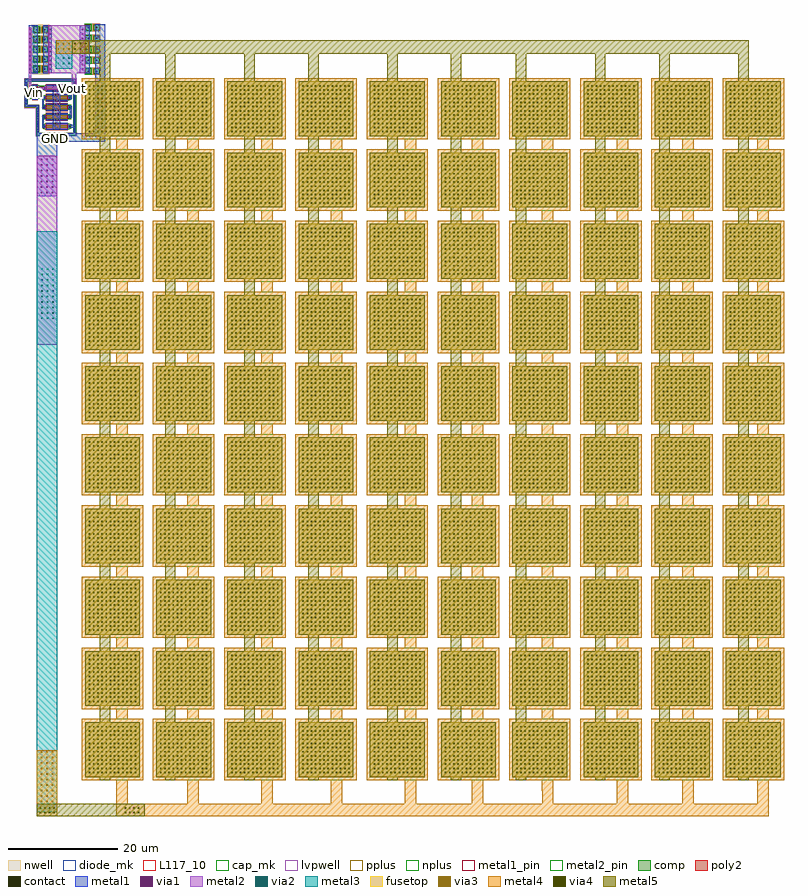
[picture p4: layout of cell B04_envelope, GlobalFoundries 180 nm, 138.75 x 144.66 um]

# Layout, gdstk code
from math import pi, radians
import gdstk
lib = gdstk.Library(unit=1e-6, precision=1e-09)
def R(c, l, rs):  # rectangles x0, y0, x1, y1
    for r in rs: c.add(gdstk.rectangle(r[:2], r[2:], *l))
def A(c, l, x, y, w, h, nx, ny, dx, dy):  # array of equal rectangles
    R(c, l, [(x+i*dx, y+j*dy, x+i*dx+w, y+j*dy+h) for i in range(nx) for j in range(ny)])
def P(c, l, *ps):  # polygons
    for p in ps: c.add(gdstk.Polygon(p, *l))
nwell = (21, 0)
comp = (22, 0)
poly2 = (30, 0)
pplus = (31, 0)
nplus = (32, 0)
contact = (33, 0)
metal1 = (34, 0)
metal1_pin = (34, 10)
via1 = (35, 0)
metal2 = (36, 0)
metal2_pin = (36, 10)
via2 = (38, 0)
via3 = (40, 0)
via4 = (41, 0)
metal3 = (42, 0)
metal4 = (46, 0)
fusetop = (75, 0)
metal5 = (81, 0)
diode_mk = (115, 5)
cap_mk = (117, 5)
L117_10 = (117, 10)
lvpwell = (204, 0)

cap_mim_1 = lib.new_cell('cap_mim$1')
A(cap_mim_1, via4, 0.69, 0.69, 0.26, 0.26, 12, 12, 0.76, 0.76)
R(cap_mim_1, metal4, [(-0.6,-0.6,10.6,10.6)])
R(cap_mim_1, fusetop, [(0,0,10,10)])
R(cap_mim_1, metal5, [(0,0,10,10)])
R(cap_mim_1, cap_mk, [(-0.6,-0.6,10.6,10.6)])
R(cap_mim_1, L117_10, [(0,0,10,0.1)])

via_dev_15 = lib.new_cell('via_dev$15')
R(via_dev_15, via4, [(0.12,0.12,0.38,0.38)])
R(via_dev_15, metal4, [(0,0,0.5,0.5)])
R(via_dev_15, metal5, [(0,0,0.5,0.5)])

via_dev_2_1 = lib.new_cell('via_dev$2$1')
R(via_dev_2_1, via3, [(0.12,0.12,0.38,0.38)])
R(via_dev_2_1, metal3, [(0,0,0.5,0.5)])
R(via_dev_2_1, metal4, [(0,0,0.5,0.5)])

via_dev_4_1 = lib.new_cell('via_dev$4$1')
R(via_dev_4_1, metal2, [(0,0,0.5,0.5)])
R(via_dev_4_1, via2, [(0.12,0.12,0.38,0.38)])
R(via_dev_4_1, metal3, [(0,0,0.5,0.5)])

via_dev_6_1 = lib.new_cell('via_dev$6$1')
R(via_dev_6_1, metal1, [(0,0,0.5,0.5)])
R(via_dev_6_1, via1, [(0.12,0.12,0.38,0.38)])
R(via_dev_6_1, metal2, [(0,0,0.5,0.5)])

via_dev_7 = lib.new_cell('via_dev$7')
R(via_dev_7, via4, [(0.07,0.07,0.33,0.33)])
R(via_dev_7, metal4, [(0,0,0.4,0.4)])
R(via_dev_7, metal5, [(0,0,0.4,0.4)])

diode_nd2ps_1 = lib.new_cell('diode_nd2ps$1')
R(diode_nd2ps_1, comp, [(-1.48,0,-0.48,1), (0,0,1,1)])
R(diode_nd2ps_1, pplus, [(-1.64,-0.16,-0.32,1.16)])
R(diode_nd2ps_1, nplus, [(-0.16,-0.16,1.16,1.16)])
R(diode_nd2ps_1, contact, [(-1.09,0.39,-0.87,0.61), (0.39,0.39,0.61,0.61)])
R(diode_nd2ps_1, metal1, [(-1.17,0.309,-0.79,0.691), (0.31,0.309,0.69,0.691)])
R(diode_nd2ps_1, diode_mk, [(-1.64,-0.16,1.16,1.16)])
R(diode_nd2ps_1, lvpwell, [(-1.64,-0.16,1.16,1.16)])
diode_nd2ps_1.add(gdstk.Label('Cathode', (0.5,0.5), layer=34, texttype=10))
diode_nd2ps_1.add(gdstk.Label('Anode', (-0.98,0.5), layer=34, texttype=10))

diode_pd2nw_1 = lib.new_cell('diode_pd2nw$1')
R(diode_pd2nw_1, nwell, [(-1.76,-0.43,1.43,1.43)])
R(diode_pd2nw_1, comp, [(-1.48,0,-0.48,1), (0,0,1,1)])
R(diode_pd2nw_1, pplus, [(-0.16,-0.16,1.16,1.16)])
R(diode_pd2nw_1, nplus, [(-1.64,-0.16,-0.32,1.16)])
R(diode_pd2nw_1, contact, [(-1.09,0.39,-0.87,0.61), (0.39,0.39,0.61,0.61)])
R(diode_pd2nw_1, metal1, [(-1.17,0.309,-0.79,0.691), (0.31,0.309,0.69,0.691)])
R(diode_pd2nw_1, diode_mk, [(0,0,1,1)])
diode_pd2nw_1.add(gdstk.Label('Cathode', (-0.98,0.5), layer=34, texttype=10))
diode_pd2nw_1.add(gdstk.Label('Anode', (0.5,0.5), layer=34, texttype=10))

via_dev_8 = lib.new_cell('via_dev$8')
R(via_dev_8, metal1, [(0,0,0.4,0.4)])
R(via_dev_8, via1, [(0.07,0.07,0.33,0.33)])
R(via_dev_8, metal2, [(0,0,0.4,0.4)])

nfet_03v3_7cufv7 = lib.new_cell('nfet_03v3_7CUFV7')
R(nfet_03v3_7cufv7, comp, [(-2.44,-0.25,2.44,0.25)])
R(nfet_03v3_7cufv7, poly2, [(-2,-0.71,2,0.71)])
R(nfet_03v3_7cufv7, nplus, [(-2.23,-0.48,2.23,-0.41), (-2.6,-0.41,2.6,0.41), (-2.23,0.41,2.23,0.48)])
A(nfet_03v3_7cufv7, contact, -1.755, -0.64, 0.22, 0.22, 8, 2, 0.47, 1.06)
R(nfet_03v3_7cufv7, contact, [(-2.37,-0.11,-2.15,0.11), (2.15,-0.11,2.37,0.11)])
R(nfet_03v3_7cufv7, metal1, [(-1.99,-0.645,1.99,-0.415), (-2.375,-0.24,-2.145,0.24), (2.145,-0.24,2.375,0.24), (-1.99,0.415,1.99,0.645)])
R(nfet_03v3_7cufv7, lvpwell, [(-2.56,-0.83,2.56,0.83)])

nfet_03v3_se6w7u = lib.new_cell('nfet_03v3_SE6W7U')
R(nfet_03v3_se6w7u, comp, [(-0.94,-1,0.94,1)])
R(nfet_03v3_se6w7u, poly2, [(-0.5,-1.46,0.5,1.46)])
R(nfet_03v3_se6w7u, nplus, [(-0.73,-1.23,0.73,-1.16), (-1.1,-1.16,1.1,1.16), (-0.73,1.16,0.73,1.23)])
A(nfet_03v3_se6w7u, contact, -0.87, -0.815, 0.22, 0.22, 1, 4, 0, 0.47)
A(nfet_03v3_se6w7u, contact, 0.65, -0.815, 0.22, 0.22, 1, 4, 0, 0.47)
R(nfet_03v3_se6w7u, contact, [(-0.345,-1.39,-0.125,-1.17), (0.125,-1.39,0.345,-1.17), (-0.345,1.17,-0.125,1.39), (0.125,1.17,0.345,1.39)])
R(nfet_03v3_se6w7u, metal1, [(-0.49,-1.395,0.49,-1.165), (-0.875,-0.99,-0.645,0.99), (0.645,-0.99,0.875,0.99), (-0.49,1.165,0.49,1.395)])
R(nfet_03v3_se6w7u, lvpwell, [(-1.06,-1.58,1.06,1.58)])

b04_envelope = lib.new_cell('B04_envelope')
R(b04_envelope, comp, [(-1.2,-0.85,6.05,-0.35), (-1.2,-0.35,-0.7,4.3), (5.55,-0.35,6.05,9), (-3.3,4.3,-0.7,4.8), (-3.3,4.8,-2.8,9), (-3.3,9,6.05,9.5)])
R(b04_envelope, pplus, [(-1.22,-0.87,6.07,-0.33), (-1.22,-0.33,-0.68,4.28), (5.53,-0.33,6.07,8.98), (-3.32,4.28,-0.68,4.82), (-3.32,4.82,-2.78,8.98), (-3.32,8.98,6.07,9.52)])
R(b04_envelope, nplus, [(-0.34,5.92,-0.04,6.49), (-0.34,7.42,-0.04,8.24)])
A(b04_envelope, contact, -1.06, -0.25, 0.22, 0.22, 1, 10, 0, 0.47)
A(b04_envelope, contact, 5.69, -0.25, 0.22, 0.22, 1, 20, 0, 0.47)
A(b04_envelope, contact, -3.16, 4.91, 0.22, 0.22, 1, 9, 0, 0.47)
R(b04_envelope, metal1, [(-1.1,-11.9,2.65,-1.95), (-1.1,-1.95,11.4,-0.45), (9.55,-1.95,11.4,19.45), (-1.1,-0.45,-0.8,4.4), (5.65,-0.45,5.95,0.55), (1.8,0.25,3.15,8.4), (-0.15,0.55,0.2,2.85), (4.9,0.55,5.95,1.1), (5.65,1.1,5.95,9.1), (4.9,2.3,5.25,4.6), (-0.15,4.05,0.2,6.35), (-3.2,4.4,-0.8,4.7), (-3.2,4.7,-2.9,9.1), (-1.65,5.8,-1.25,8.4), (4.9,5.8,5.25,8.1), (-2.55,6.1,-2.25,6.2), (-2.55,6.2,-2.15,7.95), (-0.65,7.5,0.25,8.1), (-2.55,7.95,-2.25,8.05), (-3.2,9.1,5.95,9.4), (-2.55,10.5,-0.9,19.3), (0.1,10.5,1.65,19.3), (6.75,10.5,8.55,19.3)])
R(b04_envelope, metal1_pin, [(1.75,-1.65,2.75,-0.95), (2.15,4.85,2.6,5.1), (-1.6,6.9,-1.4,7.2)])
A(b04_envelope, via1, -2.43, 6.425, 0.26, 0.26, 1, 3, 0, 0.52)
R(b04_envelope, via1, [(-0.305,7.67,-0.045,7.93)])
R(b04_envelope, metal2, [(-1.1,-39,2.65,-4.5), (-2.55,6.1,-2.1,18.9), (-0.65,7.5,6.1,8.1), (5.25,7.5,6.1,19.3), (0.95,10.5,7.7,19.3), (2.35,11.4,5.35,14.1)])
R(b04_envelope, metal2_pin, [(-2.5,7.55,-2.2,7.8), (5.3,7.6,5.65,7.8)])
R(b04_envelope, metal3, [(-1.15,-124.35,2.65,-18.35), (2.35,11.4,5.35,16.6)])
A(b04_envelope, metal4, 13.35, -120.45, 2.1, 1.95, 1, 10, 0, 13)
A(b04_envelope, metal4, 26.35, -120.45, 2.1, 1.95, 1, 10, 0, 13)
A(b04_envelope, metal4, 39.9, -120.45, 2.1, 1.95, 1, 10, 0, 13)
A(b04_envelope, metal4, 52.55, -120.45, 2.1, 1.95, 1, 10, 0, 13)
A(b04_envelope, metal4, 66.1, -120.45, 2.1, 1.95, 1, 10, 0, 13)
A(b04_envelope, metal4, 78.25, -120.45, 2.1, 1.95, 1, 10, 0, 13)
A(b04_envelope, metal4, 91.1, -120.45, 2.1, 1.95, 1, 10, 0, 13)
A(b04_envelope, metal4, 104.8, -120.45, 2.1, 1.95, 1, 10, 0, 13)
A(b04_envelope, metal4, 116.75, -120.45, 2.1, 1.95, 1, 10, 0, 13)
A(b04_envelope, metal4, 130.45, -120.45, 2.1, 1.95, 1, 10, 0, 13)
R(b04_envelope, metal4, [(-1.15,-125.1,2.65,-113.05), (13.4,-125.1,132.05,-122.8), (130.45,-125.1,132.55,-119.65), (13.35,-123.8,15.5,-120.3), (26.35,-123.75,28.45,-120.05), (91.15,-123.35,93.2,-119.65), (52.55,-123.25,54.65,-119.65), (66.1,-123.25,68.2,-119.45), (104.8,-123.1,106.9,-119.75), (39.9,-122.95,42,-120.1), (78.25,-122.95,80.35,-120.25), (116.75,-122.9,118.85,-119.2), (2.4,14.1,8.35,16.6)])
P(b04_envelope, metal4, [(77.5,11.95),(77.5,11.95),(77.5,11.95),(77.5,11.95)])
R(b04_envelope, metal5, [(-1.15,-125.1,18.55,-122.85), (10.4,-118.55,12.3,14.45), (22.3,-118.55,24.2,14.45), (36.75,-118.55,38.65,14.45), (48.45,-118.55,50.35,14.45), (62.9,-118.55,64.8,14.45), (74.45,-118.55,76.35,14.45), (86.35,-118.55,88.25,14.45), (100.8,-118.55,102.7,14.45), (112.5,-118.55,114.4,14.45), (126.95,-118.55,128.85,14.45), (5.35,14.1,11.65,16.6), (10.35,14.1,128.85,16.6)])
R(b04_envelope, lvpwell, [(-1.35,-1,6.2,4.15), (-3.45,4.15,6.2,9.65)])
r = gdstk.Reference(cap_mim_1, (7.7,-117.95)); r.repetition = gdstk.Repetition(10, 10, v1=(13,0), v2=(0,13)); b04_envelope.add(r)
r = gdstk.Reference(via_dev_15, (5.6,14.7)); r.repetition = gdstk.Repetition(3, 2, v1=(1,0), v2=(0,1)); b04_envelope.add(r)
r = gdstk.Reference(via_dev_2_1, (2.55,14.7)); r.repetition = gdstk.Repetition(3, 2, v1=(1,0), v2=(0,1)); b04_envelope.add(r)
r = gdstk.Reference(via_dev_4_1, (2.55,12.05)); r.repetition = gdstk.Repetition(3, 2, v1=(1,0), v2=(0,1)); b04_envelope.add(r)
r = gdstk.Reference(via_dev_2_1, (-0.5,-122.65)); r.repetition = gdstk.Repetition(3, 10, v1=(1,0), v2=(0,1)); b04_envelope.add(r)
r = gdstk.Reference(via_dev_4_1, (-0.4,-34.45)); r.repetition = gdstk.Repetition(3, 10, v1=(1,0), v2=(0,1)); b04_envelope.add(r)
r = gdstk.Reference(via_dev_6_1, (-0.5,-11.45)); r.repetition = gdstk.Repetition(3, 7, v1=(1,0), v2=(0,1)); b04_envelope.add(r)
r = gdstk.Reference(via_dev_7, (2.2,-124.6), rotation=pi/2); r.repetition = gdstk.Repetition(2, 4, v1=(0,0.8), v2=(-0.8,0)); b04_envelope.add(r)
r = gdstk.Reference(via_dev_7, (17.65,-124.6), rotation=pi/2); r.repetition = gdstk.Repetition(2, 4, v1=(0,0.8), v2=(-0.8,0)); b04_envelope.add(r)
r = gdstk.Reference(diode_nd2ps_1, (8.8,19.4), rotation=pi); r.repetition = gdstk.Repetition(1, 5, v1=(0,0), v2=(0,-2)); b04_envelope.add(r)
r = gdstk.Reference(diode_pd2nw_1, (-0.15,10.8)); r.repetition = gdstk.Repetition(1, 5, v1=(0,0), v2=(0,1.8)); b04_envelope.add(r)
r = gdstk.Reference(via_dev_8, (1.1,11.1)); r.repetition = gdstk.Repetition(1, 10, v1=(0,0), v2=(0,0.8)); b04_envelope.add(r)
r = gdstk.Reference(via_dev_8, (7,11.1)); r.repetition = gdstk.Repetition(1, 10, v1=(0,0), v2=(0,0.8)); b04_envelope.add(r)
r = gdstk.Reference(via_dev_8, (-2.5,11.1)); r.repetition = gdstk.Repetition(1, 10, v1=(0,0), v2=(0,0.8)); b04_envelope.add(r)
b04_envelope.add(gdstk.Reference(nfet_03v3_7cufv7, (2.56,0.83)))
b04_envelope.add(gdstk.Reference(nfet_03v3_se6w7u, (-1.44,7.08)))
b04_envelope.add(gdstk.Reference(nfet_03v3_7cufv7, (2.56,7.83)))
b04_envelope.add(gdstk.Reference(nfet_03v3_7cufv7, (2.56,4.33)))
b04_envelope.add(gdstk.Reference(nfet_03v3_7cufv7, (2.56,6.08)))
b04_envelope.add(gdstk.Reference(nfet_03v3_7cufv7, (2.56,2.58)))
b04_envelope.add(gdstk.Label('GND', (2.25,-1.3), layer=34, texttype=10))
b04_envelope.add(gdstk.Label('Vin', (-1.5,7.05), layer=34, texttype=10))
b04_envelope.add(gdstk.Label('VbiasN', (2.375,4.975), layer=34, texttype=10))
b04_envelope.add(gdstk.Label('VDD', (-2.35,7.675), layer=36, texttype=10))
b04_envelope.add(gdstk.Label('Vout', (5.475,7.7), layer=36, texttype=10))

lib.write_gds('B04_envelope.gds')
